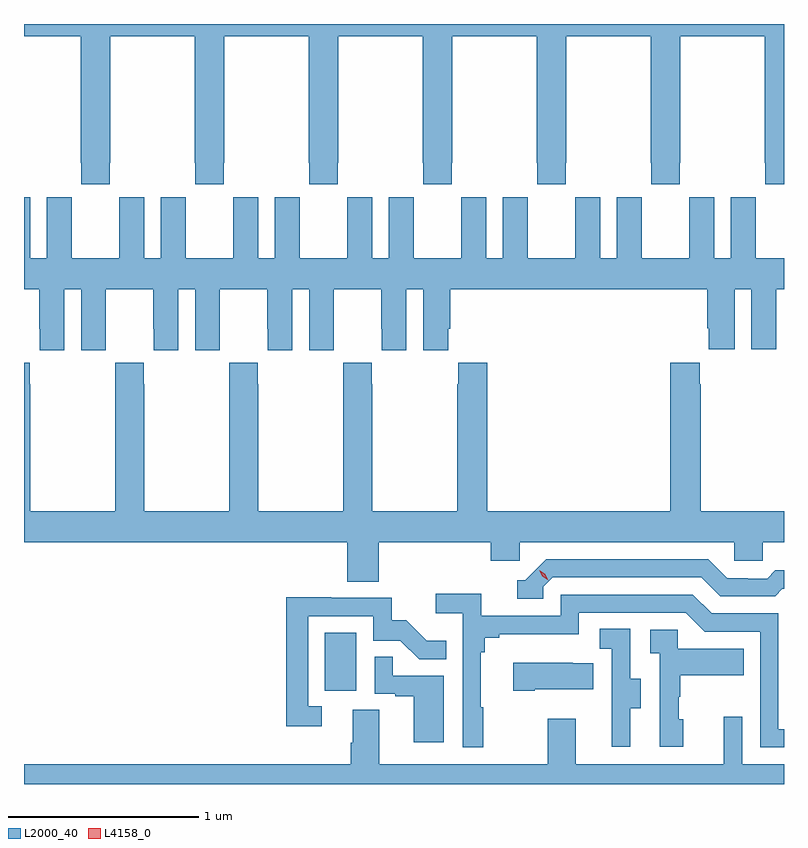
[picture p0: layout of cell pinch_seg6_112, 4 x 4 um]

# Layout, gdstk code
import gdstk
lib = gdstk.Library(unit=1e-6, precision=1e-09)
def R(c, l, rs):  # rectangles x0, y0, x1, y1
    for r in rs: c.add(gdstk.rectangle(r[:2], r[2:], *l))
def P(c, l, *ps):  # polygons
    for p in ps: c.add(gdstk.Polygon(p, *l))
L2000_40 = (2000, 40)
L4158_0 = (4158, 0)

pinch_seg6_112 = lib.new_cell('pinch_seg6_112')
R(pinch_seg6_112, L2000_40, [(900.14,929.238,900.304,929.545)])
P(pinch_seg6_112, L2000_40, [(899.007,932.017),(899.01,932.017),(899.01,932.684),(899.455,932.684),(899.455,932.017),(899.457,932.017),(899.457,931.905),(899.607,931.905),(899.607,932.017),(899.61,932.017),(899.61,932.684),(900.055,932.684),(900.055,932.017),(900.057,932.017),(900.057,931.905),(900.207,931.905),(900.207,932.017),(900.21,932.017),(900.21,932.684),(900.655,932.684),(900.655,932.017),(900.657,932.017),(900.657,931.905),(900.807,931.905),(900.807,932.017),(900.81,932.017),(900.81,932.684),(901.255,932.684),(901.255,932.017),(901.257,932.017),(901.257,931.905),(901.407,931.905),(901.407,932.017),(901.41,932.017),(901.41,932.684),(901.855,932.684),(901.855,932.017),(901.857,932.017),(901.857,931.905),(902.007,931.905),(902.007,932.017),(902.01,932.017),(902.01,932.684),(902.455,932.684),(902.455,932.017),(902.457,932.017),(902.457,931.905),(902.556,931.905),(902.556,932.748),(898.556,932.748),(898.556,932.684),(898.855,932.684),(898.855,932.017),(898.857,932.017),(898.857,931.905),(899.007,931.905)],
  [(898.768,931.352),(898.856,931.352),(898.856,931.032),(898.986,931.032),(898.986,931.144),(898.987,931.144),(898.987,931.352),(899.237,931.352),(899.237,931.144),(899.238,931.144),(899.238,931.032),(899.368,931.032),(899.368,931.352),(899.456,931.352),(899.456,931.032),(899.586,931.032),(899.586,931.144),(899.587,931.144),(899.587,931.352),(899.837,931.352),(899.837,931.144),(899.838,931.144),(899.838,931.032),(899.968,931.032),(899.968,931.352),(900.056,931.352),(900.056,931.032),(900.186,931.032),(900.186,931.144),(900.187,931.144),(900.187,931.352),(900.437,931.352),(900.437,931.144),(900.438,931.144),(900.438,931.032),(900.568,931.032),(900.568,931.352),(900.656,931.352),(900.656,931.032),(900.79,931.032),(900.79,931.144),(900.8,931.144),(900.8,931.352),(902.153,931.352),(902.153,931.147),(902.159,931.147),(902.159,931.035),(902.296,931.035),(902.296,931.352),(902.384,931.352),(902.384,931.035),(902.515,931.035),(902.515,931.352),(902.556,931.352),(902.556,931.516),(902.407,931.516),(902.407,931.724),(902.406,931.724),(902.406,931.837),(902.276,931.837),(902.276,931.516),(902.188,931.516),(902.188,931.837),(902.058,931.837),(902.058,931.724),(902.057,931.724),(902.057,931.516),(901.807,931.516),(901.807,931.724),(901.806,931.724),(901.806,931.837),(901.676,931.837),(901.676,931.516),(901.588,931.516),(901.588,931.837),(901.458,931.837),(901.458,931.724),(901.457,931.724),(901.457,931.516),(901.207,931.516),(901.207,931.724),(901.206,931.724),(901.206,931.837),(901.076,931.837),(901.076,931.516),(900.988,931.516),(900.988,931.837),(900.858,931.837),(900.858,931.724),(900.857,931.724),(900.857,931.516),(900.607,931.516),(900.607,931.724),(900.606,931.724),(900.606,931.837),(900.476,931.837),(900.476,931.516),(900.388,931.516),(900.388,931.837),(900.258,931.837),(900.258,931.724),(900.257,931.724),(900.257,931.516),(900.007,931.516),(900.007,931.724),(900.006,931.724),(900.006,931.837),(899.876,931.837),(899.876,931.516),(899.788,931.516),(899.788,931.837),(899.658,931.837),(899.658,931.724),(899.657,931.724),(899.657,931.516),(899.407,931.516),(899.407,931.724),(899.406,931.724),(899.406,931.837),(899.276,931.837),(899.276,931.516),(899.188,931.516),(899.188,931.837),(899.058,931.837),(899.058,931.724),(899.057,931.724),(899.057,931.516),(898.807,931.516),(898.807,931.724),(898.806,931.724),(898.806,931.837),(898.676,931.837),(898.676,931.516),(898.588,931.516),(898.588,931.837),(898.556,931.837),(898.556,931.352),(898.637,931.352),(898.637,931.144),(898.638,931.144),(898.638,931.032),(898.768,931.032)],
  [(900.422,930.02),(901.013,930.02),(901.013,929.922),(901.164,929.922),(901.164,930.02),(902.295,930.02),(902.295,929.922),(902.445,929.922),(902.445,930.02),(902.556,930.02),(902.556,930.184),(902.118,930.184),(902.118,930.851),(902.113,930.851),(902.113,930.964),(901.958,930.964),(901.958,930.184),(900.995,930.184),(900.995,930.964),(900.841,930.964),(900.841,930.851),(900.835,930.851),(900.835,930.184),(900.39,930.184),(900.39,930.851),(900.387,930.851),(900.387,930.964),(900.237,930.964),(900.237,930.851),(900.235,930.851),(900.235,930.184),(899.79,930.184),(899.79,930.851),(899.787,930.851),(899.787,930.964),(899.637,930.964),(899.637,930.851),(899.635,930.851),(899.635,930.184),(899.19,930.184),(899.19,930.851),(899.187,930.851),(899.187,930.964),(899.037,930.964),(899.037,930.851),(899.035,930.851),(899.035,930.184),(898.59,930.184),(898.59,930.851),(898.587,930.851),(898.587,930.964),(898.556,930.964),(898.556,930.02),(900.257,930.02),(900.257,929.812),(900.422,929.812)],
  [(901.29,929.787),(901.338,929.835),(902.121,929.835),(902.22,929.736),(902.509,929.736),(902.548,929.775),(902.556,929.775),(902.556,929.872),(902.509,929.872),(902.467,929.829),(902.364,929.829),(902.364,929.832),(902.257,929.832),(902.158,929.931),(901.305,929.931),(901.194,929.82),(901.151,929.82),(901.151,929.724),(901.29,929.724)],
  [(900.973,929.153),(900.961,929.153),(900.961,929.441),(900.98,929.441),(900.98,929.518),(901.057,929.518),(901.057,929.537),(901.476,929.537),(901.476,929.649),(902.04,929.649),(902.139,929.55),(902.43,929.55),(902.43,928.941),(902.556,928.941),(902.556,929.037),(902.526,929.037),(902.526,929.646),(902.176,929.646),(902.077,929.745),(901.38,929.745),(901.38,929.634),(900.962,929.634),(900.962,929.75),(900.723,929.75),(900.723,929.648),(900.864,929.648),(900.864,928.941),(900.973,928.941)],
  [(900.124,929.157),(900.051,929.157),(900.051,929.631),(900.393,929.631),(900.393,929.502),(900.537,929.502),(900.635,929.404),(900.779,929.404),(900.779,929.503),(900.675,929.503),(900.568,929.61),(900.492,929.61),(900.492,929.727),(900.173,929.727),(900.173,929.732),(899.935,929.732),(899.935,929.052),(900.124,929.052)],
  [(901.747,929.146),(901.801,929.146),(901.801,929.301),(901.746,929.301),(901.746,929.564),(901.587,929.564),(901.587,929.461),(901.65,929.461),(901.65,929.157),(901.649,929.157),(901.649,928.944),(901.747,928.944)],
  [(902.026,929.088),(902.001,929.088),(902.001,929.207),(902.011,929.207),(902.011,929.321),(902.345,929.321),(902.345,929.461),(901.998,929.461),(901.998,929.559),(901.851,929.559),(901.851,929.435),(901.902,929.435),(901.902,928.944),(902.026,928.944)],
  [(900.766,929.319),(900.497,929.319),(900.497,929.417),(900.402,929.417),(900.402,929.223),(900.509,929.223),(900.509,929.211),(900.608,929.211),(900.608,928.968),(900.766,928.968)],
  [(901.243,929.246),(901.553,929.246),(901.553,929.383),(901.445,929.383),(901.445,929.386),(901.131,929.386),(901.131,929.239),(901.243,929.239)],
  [(902.556,928.852),(902.337,928.852),(902.337,929.101),(902.24,929.101),(902.24,928.852),(901.459,928.852),(901.459,929.092),(901.312,929.092),(901.312,928.852),(900.427,928.852),(900.427,929.138),(900.287,929.138),(900.287,928.964),(900.275,928.964),(900.275,928.852),(898.556,928.852),(898.556,928.748),(902.556,928.748)])
P(pinch_seg6_112, L4158_0, [(901.314,929.821),(901.283,929.841),(901.267,929.873),(901.267,929.874),(901.268,929.874),(901.298,929.854),(901.314,929.821),(901.314,929.821)])

lib.write_gds('pinch_seg6_112.gds')
